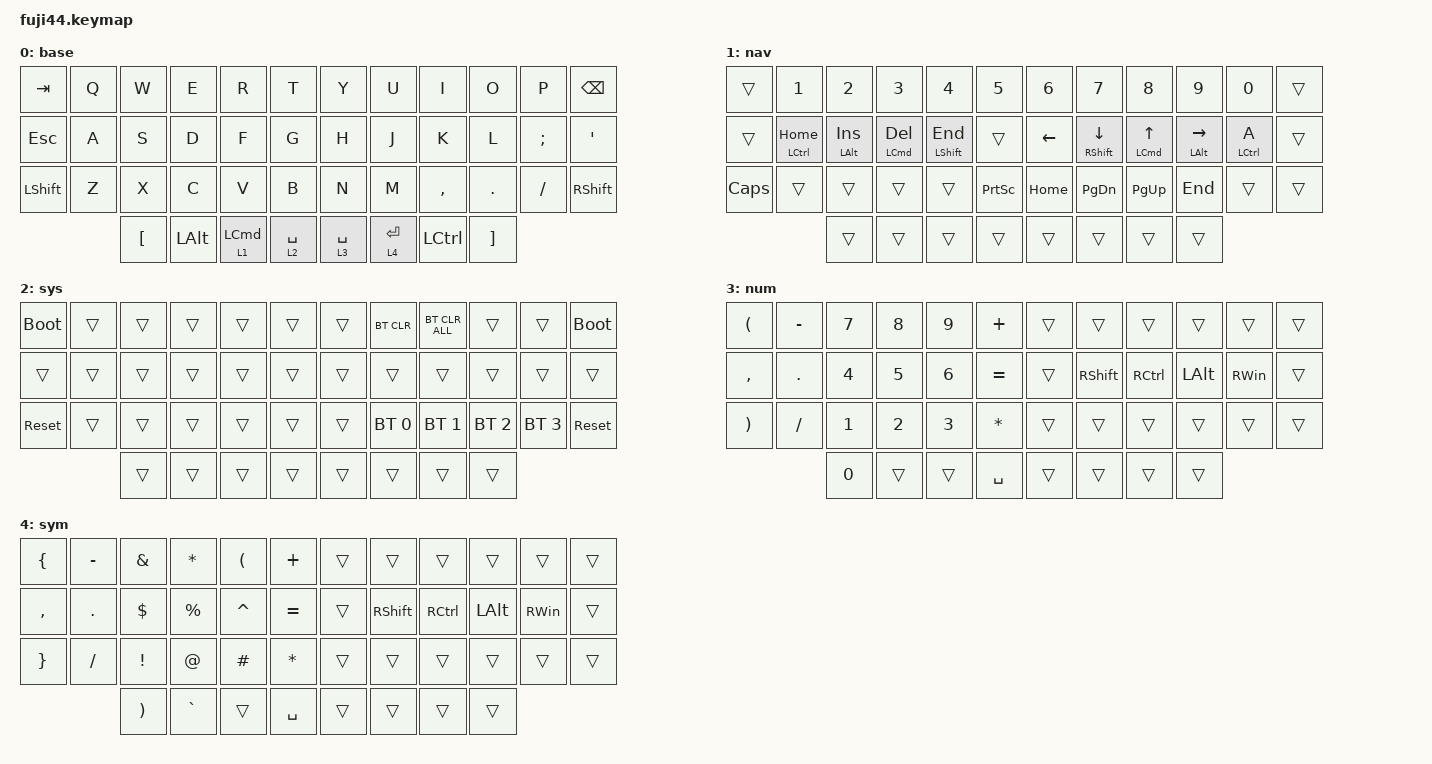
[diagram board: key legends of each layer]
/*
 * Copyright (c) 2020 The ZMK Contributors
 *
 * SPDX-License-Identifier: MIT
 */

#include <behaviors.dtsi>
#include <dt-bindings/zmk/bt.h>
#include <dt-bindings/zmk/keys.h>

/ {
    combos {
        compatible = "zmk,combos";

        combo_esc {
            timeout-ms = <50>;
            key-positions = <0 1>;
            bindings = <&kp ESC>;
        };
    };

    behaviors {
        ss_hs_modmorph: ss_hs_modmorph {
            compatible = "zmk,behavior-mod-morph";
            label = "SS_HS_MODMORPH";
            bindings = <&kp M>, <&kp RIGHT_BRACKET>;

            #binding-cells = <0>;
            mods = <(MOD_LSFT|MOD_RSFT)>;
        };

        kh_hs_tapdance: kh_hs_tapdance {
            compatible = "zmk,behavior-tap-dance";
            label = "KH_HS_TAPDANCE";
            #binding-cells = <0>;
            tapping-term-ms = <200>;
            bindings = <&kp LEFT_BRACKET>, <&kp RIGHT_BRACKET>;
        };

        hrm: hrm {
            compatible = "zmk,behavior-hold-tap";
            #binding-cells = <2>;
            flavor = "tap-preferred";
            tapping-term-ms = <200>;
            quick-tap-ms = <200>;
            require-prior-idle-ms = <125>;
            bindings = <&kp>, <&kp>;
        };

        HMShiftR: HMShiftR {
            compatible = "zmk,behavior-hold-tap";
            label = "HMSHIFTR";
            bindings = <&kp>, <&kp>;

            #binding-cells = <2>;
            tapping-term-ms = <200>;
            hold-while-undecided;
            hold-trigger-key-positions = <0 0 1 2 3 4 5 12 13 14 15 16 17 24 25 26 27 28 29 36 37 38 39>;
            hold-trigger-on-release;
        };

        HMShiftL: HMShiftL {
            compatible = "zmk,behavior-hold-tap";
            label = "HMSHIFTL";
            bindings = <&kp>, <&kp>;

            #binding-cells = <2>;
            tapping-term-ms = <200>;
            hold-while-undecided;
            hold-trigger-on-release;
            hold-trigger-key-positions = <6 7 8 9 10 11 18 19 20 21 22 23 30 31 32 33 34 35 40 41 42 43>;
        };

        HMR: HMR {
            compatible = "zmk,behavior-hold-tap";
            label = "HMR";
            bindings = <&kp>, <&kp>;

            #binding-cells = <2>;
            tapping-term-ms = <200>;
            hold-while-undecided;
            hold-trigger-key-positions = <0 0 1 2 3 4 5 12 13 14 15 16 17 24 25 26 27 28 29 36 37 38 39>;
            hold-trigger-on-release;
            flavor = "tap-preferred";
        };

        HML: HML {
            compatible = "zmk,behavior-hold-tap";
            label = "HML";
            bindings = <&kp>, <&kp>;

            #binding-cells = <2>;
            tapping-term-ms = <200>;
            hold-while-undecided;
            hold-trigger-on-release;
            hold-trigger-key-positions = <6 7 8 9 10 11 18 19 20 21 22 23 30 31 32 33 34 35 40 41 42 43>;
            flavor = "tap-preferred";
        };
    };

    keymap {
        compatible = "zmk,keymap";

        base {
            bindings = <
&kp TAB    &kp Q  &kp W             &kp E         &kp R               &kp T          &kp Y        &kp U        &kp I             &kp O              &kp P          &kp BACKSPACE
&kp ESC    &kp A  &kp S             &kp D         &kp F               &kp G          &kp H        &kp J        &kp K             &kp L              &kp SEMICOLON  &kp SQT
&kp LSHFT  &kp Z  &kp X             &kp C         &kp V               &kp B          &kp N        &kp M        &kp COMMA         &kp DOT            &kp FSLH       &kp RIGHT_SHIFT
                  &kp LEFT_BRACKET  &kp LEFT_ALT  &lt 1 LEFT_COMMAND  &lt 2 SPACE    &lt 3 SPACE  &lt 4 ENTER  &kp LEFT_CONTROL  &kp RIGHT_BRACKET
            >;
        };

        nav {
            bindings = <
&trans        &kp NUMBER_1            &kp NUMBER_2          &kp NUMBER_3              &kp NUMBER_4              &kp NUMBER_5       &kp NUMBER_6  &kp NUMBER_7                &kp NUMBER_8                &kp NUMBER_9         &kp NUMBER_0         &trans
&trans        &HML LEFT_CONTROL HOME  &HML LEFT_ALT INSERT  &HML LEFT_COMMAND DELETE  &HMShiftL LEFT_SHIFT END  &trans             &kp LEFT      &HMShiftR RIGHT_SHIFT DOWN  &HMR LEFT_COMMAND UP_ARROW  &HMR LEFT_ALT RIGHT  &HMR LEFT_CONTROL A  &trans
&kp CAPSLOCK  &trans                  &trans                &trans                    &trans                    &kp PRINTSCREEN    &kp HOME      &kp PAGE_DOWN               &kp PG_UP                   &kp END              &trans               &trans
                                      &trans                &trans                    &trans                    &trans             &trans        &trans                      &trans                      &trans
            >;
        };

        sys {
            bindings = <
&bootloader  &trans  &trans  &trans  &trans  &trans    &trans  &bt BT_CLR    &bt BT_CLR_ALL  &trans        &trans        &bootloader
&trans       &trans  &trans  &trans  &trans  &trans    &trans  &trans        &trans          &trans        &trans        &trans
&sys_reset   &trans  &trans  &trans  &trans  &trans    &trans  &bt BT_SEL 0  &bt BT_SEL 1    &bt BT_SEL 2  &bt BT_SEL 3  &sys_reset
                     &trans  &trans  &trans  &trans    &trans  &trans        &trans          &trans
            >;
        };

        num {
            bindings = <
&kp LEFT_PARENTHESIS   &kp MINUS   &kp N7        &kp N8        &kp N9        &kp PLUS        &trans  &trans           &trans     &trans    &trans         &trans
&kp COMMA              &kp PERIOD  &kp NUMBER_4  &kp N5        &kp NUMBER_6  &kp EQUAL       &trans  &kp RIGHT_SHIFT  &kp RCTRL  &kp LALT  &kp RIGHT_WIN  &trans
&kp RIGHT_PARENTHESIS  &kp SLASH   &kp NUMBER_1  &kp NUMBER_2  &kp NUMBER_3  &kp ASTERISK    &trans  &trans           &trans     &trans    &trans         &trans
                                   &kp N0        &trans        &trans        &kp SPACE       &trans  &trans           &trans     &trans
            >;
        };

        sym {
            bindings = <
&kp LEFT_BRACE   &kp MINUS  &kp AMPERSAND          &kp ASTERISK  &kp LEFT_PARENTHESIS  &kp PLUS        &trans  &trans      &trans     &trans        &trans         &trans
&kp COMMA        &kp DOT    &kp DOLLAR             &kp PERCENT   &kp CARET             &kp EQUAL       &trans  &kp RSHIFT  &kp RCTRL  &kp LEFT_ALT  &kp RIGHT_WIN  &trans
&kp RIGHT_BRACE  &kp SLASH  &kp EXCL               &kp AT_SIGN   &kp HASH              &kp ASTERISK    &trans  &trans      &trans     &trans        &trans         &trans
                            &kp RIGHT_PARENTHESIS  &kp GRAVE     &trans                &kp SPACE       &trans  &trans      &trans     &trans
            >;
        };
    };
};
